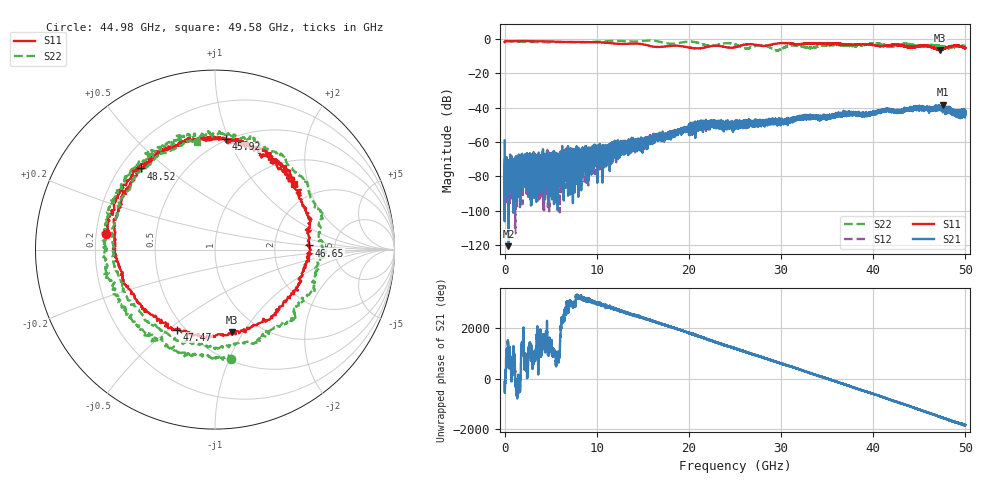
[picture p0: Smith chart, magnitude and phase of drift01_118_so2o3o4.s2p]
!Created with skrf (http://scikit-rf.org).
# Hz S RI R 50.0
!freq ReS11 ImS11 ReS21 ImS21 ReS12 ImS12 ReS22 ImS22
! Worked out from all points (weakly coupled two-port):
!   10001 points, 300 kHz to 50 GHz, reference 50 ohm
!   highest |S21| = -38.38 dB at 47.61 GHz (marker M1); lowest = -120.6 dB at 420.3 MHz (marker M2)
!   lowest |S11| = -6.6 dB at 47.23 GHz (marker M3), VSWR 2.76, Z = 38 - j44.6 ohm
!   |S11| at or under -10 dB: nowhere
!   |S22| runs from -6.8 to -1.0 dB; largest |S21 - S12| = 0.0037
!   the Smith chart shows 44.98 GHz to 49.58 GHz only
!   S11 on the Smith chart (normalised r, x): 44.98 GHz: 0.24, +0.07; 45.92 GHz: 0.49, +0.98; 46.65 GHz: 3.20, +0.21; 47.47 GHz: 0.45, -0.54; 48.52 GHz: 0.28, +0.41; 49.58 GHz: 1.50, +1.65
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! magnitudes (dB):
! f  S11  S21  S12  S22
! 300 kHz  -2.0  -59.2  -69.5  -1.3
! 255.3 MHz  -1.4  -75.8  -76.4  -1.4
! 420.3 MHz  -1.4  -120.6  -74.1  -1.4
! 5.725 GHz  -1.8  -75.5  -72.7  -2.0
! 8.335 GHz  -1.9  -69.9  -78.6  -2.1
! 16.67 GHz  -4.8  -57.0  -58.1  -1.6
! 21.58 GHz  -5.2  -50.9  -50.1  -3.4
! 25 GHz  -5.0  -49.8  -50.4  -3.4
! 28.08 GHz  -4.3  -49.2  -48.0  -3.8
! 29.53 GHz  -2.8  -48.2  -47.7  -6.8
! 31.29 GHz  -3.0  -46.2  -46.7  -3.9
! 33.34 GHz  -2.6  -45.5  -45.8  -5.3
! 41.67 GHz  -3.9  -41.6  -41.7  -4.4
! 44.98 GHz  -4.2  -40.8  -40.0  -4.2
! 45.92 GHz  -4.2  -40.7  -41.3  -4.0
! 46.65 GHz  -5.6  -40.9  -39.6  -3.8
! 47.23 GHz  -6.6  -39.9  -40.9  -4.3
! 47.47 GHz  -6.1  -40.1  -40.3  -4.2
! 47.61 GHz  -6.0  -38.4  -40.9  -4.6
! 48.52 GHz  -4.3  -41.7  -42.8  -5.3
! 49.58 GHz  -4.8  -43.1  -43.9  -4.3
! 50 GHz  -5.4  -44.6  -41.7  -4.2
